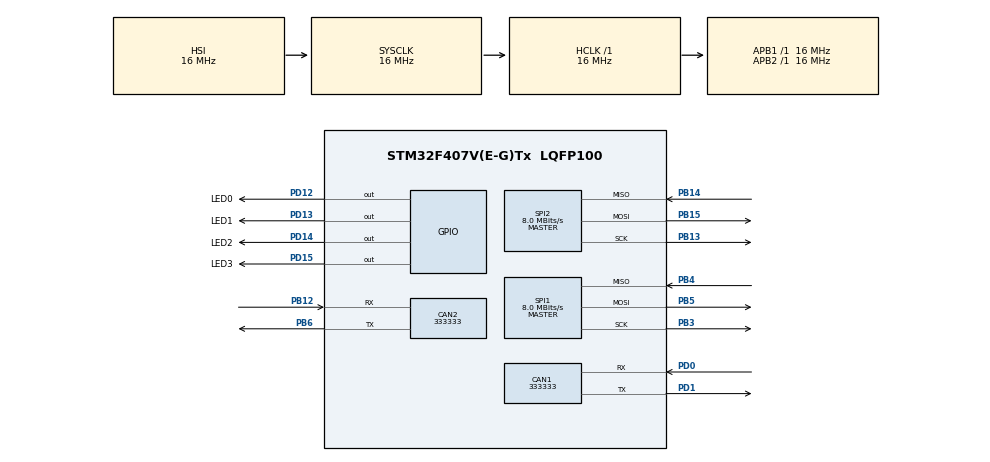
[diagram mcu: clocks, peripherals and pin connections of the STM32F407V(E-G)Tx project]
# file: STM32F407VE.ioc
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CAN1.CalculateBaudRate=333333
CAN1.CalculateTimeBit=3000.00
CAN1.CalculateTimeQuantum=1000.0
CAN2.CalculateBaudRate=333333
CAN2.CalculateTimeBit=3000.00
CAN2.CalculateTimeQuantum=1000.0
Mcu.Family=STM32F4
Mcu.Name=STM32F407V(E-G)Tx
Mcu.Package=LQFP100
NVIC.PriorityGroup=NVIC_PRIORITYGROUP_4
PA13.Mode=Serial_Wire
PA13.Signal=SYS_JTMS-SWDIO
PA14.Mode=Serial_Wire
PA14.Signal=SYS_JTCK-SWCLK
PB12.Mode=CAN_Activate
PB12.Signal=CAN2_RX
PB13.Mode=Full_Duplex_Master
PB13.Signal=SPI2_SCK
PB14.Mode=Full_Duplex_Master
PB14.Signal=SPI2_MISO
PB15.Mode=Full_Duplex_Master
PB15.Signal=SPI2_MOSI
PB3.Mode=Full_Duplex_Master
PB3.Signal=SPI1_SCK
PB4.Mode=Full_Duplex_Master
PB4.Signal=SPI1_MISO
PB5.Mode=Full_Duplex_Master
PB5.Signal=SPI1_MOSI
PB6.Mode=CAN_Activate
PB6.Signal=CAN2_TX
PD0.Mode=CAN_Activate
PD0.Signal=CAN1_RX
PD1.Mode=CAN_Activate
PD1.Signal=CAN1_TX
PD12.GPIO_Label=LED0
PD12.GPIO_ModeDefaultOutputPP=GPIO_MODE_OUTPUT_PP
PD12.GPIO_PuPd=GPIO_PULLUP
PD12.GPIO_Speed=GPIO_SPEED_FREQ_HIGH
PD12.PinState=GPIO_PIN_SET
PD12.Signal=GPIO_Output
PD13.GPIO_Label=LED1
PD13.GPIO_PuPd=GPIO_PULLUP
PD13.GPIO_Speed=GPIO_SPEED_FREQ_HIGH
PD13.PinState=GPIO_PIN_SET
PD13.Signal=GPIO_Output
PD14.GPIO_Label=LED2
PD14.GPIO_PuPd=GPIO_PULLUP
PD14.GPIO_Speed=GPIO_SPEED_FREQ_HIGH
PD14.PinState=GPIO_PIN_SET
PD14.Signal=GPIO_Output
PD15.GPIO_Label=LED3
PD15.GPIO_PuPd=GPIO_PULLUP
PD15.GPIO_Speed=GPIO_SPEED_FREQ_HIGH
PD15.PinState=GPIO_PIN_SET
PD15.Signal=GPIO_Output
PH0-OSC_IN.Mode=HSE-External-Oscillator
PH0-OSC_IN.Signal=RCC_OSC_IN
PH1-OSC_OUT.Mode=HSE-External-Oscillator
PH1-OSC_OUT.Signal=RCC_OSC_OUT
ProjectManager.HeapSize=0x200
ProjectManager.StackSize=0x400
ProjectManager.TargetToolchain=STM32CubeIDE
RCC.AHBFreq_Value=16000000
RCC.APB1Freq_Value=16000000
RCC.APB2Freq_Value=16000000
RCC.CortexFreq_Value=16000000
RCC.HSE_VALUE=25000000
RCC.HSI_VALUE=16000000
RCC.LSE_VALUE=32768
RCC.SYSCLKFreq_VALUE=16000000
RCC.VCOOutputFreq_Value=192000000
SPI1.CalculateBaudRate=8.0 MBits/s
SPI1.Direction=SPI_DIRECTION_2LINES
SPI1.Mode=SPI_MODE_MASTER
SPI1.VirtualType=VM_MASTER
SPI2.CalculateBaudRate=8.0 MBits/s
SPI2.Direction=SPI_DIRECTION_2LINES
SPI2.Mode=SPI_MODE_MASTER
SPI2.VirtualType=VM_MASTER
board=custom

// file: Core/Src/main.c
/* USER CODE BEGIN Header */
/**
  ******************************************************************************
  * @file           : main.c
  * @brief          : Main program body
  ******************************************************************************
  * @attention
  *
  * <h2><center>&copy; Copyright (c) 2021 STMicroelectronics.
  * All rights reserved.</center></h2>
  *
  * This software component is licensed by ST under BSD 3-Clause license,
  * the "License"; You may not use this file except in compliance with the
  * License. You may obtain a copy of the License at:
  *                        opensource.org/licenses/BSD-3-Clause
  *
  ******************************************************************************
  */
/* USER CODE END Header */
#include "main.h"

/* USER CODE BEGIN Includes */
#include "sys.h"
#include "can.h"
#include "24l01.h"
#include "spi.h"
/* USER CODE END Includes */

/* USER CODE BEGIN PTD */
#define WK_UP PAin(0)
#define LED0 PDout(12)
#define LED1 PDout(13)
#define LED2 PDout(14)
#define LED3 PDout(15)
/* USER CODE END PTD */

CAN_HandleTypeDef hcan1;
CAN_HandleTypeDef hcan2;

SPI_HandleTypeDef hspi1;
SPI_HandleTypeDef hspi2;

void SystemClock_Config(void);
static void MX_GPIO_Init(void);
static void MX_CAN1_Init(void);
static void MX_CAN2_Init(void);
static void MX_SPI1_Init(void);
static void MX_SPI2_Init(void);

int main(void)
{
  /* USER CODE BEGIN 1 */
	u8 key_up=1,canbuf[32];
  /* USER CODE END 1 */

  /* MCU Configuration--------------------------------------------------------*/

  /* Reset of all peripherals, Initializes the Flash interface and the Systick. */
  HAL_Init();

  /* Configure the system clock */
  SystemClock_Config();

  /* Initialize all configured peripherals */
  MX_GPIO_Init();
  MX_CAN1_Init();
  MX_CAN2_Init();
  MX_SPI1_Init();
  MX_SPI2_Init();
  /* USER CODE BEGIN 2 */

LED0=0;
LED1=0;
LED2=0;
LED3=0;

NRF24L01_Init(); //Initialize NRF24L01
NRF24L01_2_Init(); //Initialize NRF24L01
while(NRF24L01_Check())
{
LED0=0;
LED1=0;
}
LED0=1;
LED1=1;
while(NRF24L01_2_Check())
{

LED2=0;
LED3=0;
}
LED2=1;
LED3=1;
NRF24L01_RX_Mode();
NRF24L01_2_TX_Mode();
  /* USER CODE END 2 */

  /* Infinite loop */
  /* USER CODE BEGIN WHILE */
CAN1_Mode_Init(CAN_SJW_1TQ,CAN_BS2_6TQ,CAN_BS1_7TQ,6,CAN_MODE_NORMAL);
CAN_Config();
CAN2_Mode_Init(CAN_SJW_1TQ,CAN_BS2_6TQ,CAN_BS1_7TQ,6,CAN_MODE_NORMAL);
CAN2_Config();
  while (1)
  {
if(NRF24L01_RxPacket(canbuf)==0)//After receiving wirelessly, use can2 to send
{
if(canbuf[0]==1)
{
canbuf[0]=1;
CAN2_Send_Msg(canbuf,1);//Send with can2
}

}
if(CAN1_Receive_Msg(canbuf)==1)//After can2 is received, send it wirelessly
{
if(canbuf[0]==1)
{
canbuf[0]=0;
LED0=!LED0;
LED1=!LED1;
LED2=!LED2;
LED3=!LED3;
}
}
if(CAN2_Receive_Msg(canbuf)==1)//After can2 is received, send it wirelessly
{
if(canbuf[0]==1)
{
canbuf[0]=1;
if(NRF24L01_2_TxPacket(canbuf)==TX_OK)
{

}
}
}
if(WK_UP==1&&key_up==1)
{
HAL_Delay(10);
if(WK_UP==1&&key_up==1)//After the button is pressed, use can1 to send
{
key_up=0;

canbuf[0]=1;
CAN1_Send_Msg(canbuf,1);

}
}
else if(WK_UP==0)
{
key_up=1;
}
HAL_Delay(50);
    /* USER CODE END WHILE */

  }
}
void SystemClock_Config(void)
{
  RCC_OscInitTypeDef RCC_OscInitStruct = {0};
  RCC_ClkInitTypeDef RCC_ClkInitStruct = {0};

  /** Configure the main internal regulator output voltage
  */
  __HAL_RCC_PWR_CLK_ENABLE();
  __HAL_PWR_VOLTAGESCALING_CONFIG(PWR_REGULATOR_VOLTAGE_SCALE1);
  /** Initializes the RCC Oscillators according to the specified parameters
  * in the RCC_OscInitTypeDef structure.
  */
  RCC_OscInitStruct.OscillatorType = RCC_OSCILLATORTYPE_HSI;
  RCC_OscInitStruct.HSIState = RCC_HSI_ON;
  RCC_OscInitStruct.HSICalibrationValue = RCC_HSICALIBRATION_DEFAULT;
  RCC_OscInitStruct.PLL.PLLState = RCC_PLL_NONE;
  if (HAL_RCC_OscConfig(&RCC_OscInitStruct) != HAL_OK)
  {
    Error_Handler();
  }
  /** Initializes the CPU, AHB and APB buses clocks
  */
  RCC_ClkInitStruct.ClockType = RCC_CLOCKTYPE_HCLK|RCC_CLOCKTYPE_SYSCLK
                              |RCC_CLOCKTYPE_PCLK1|RCC_CLOCKTYPE_PCLK2;
  RCC_ClkInitStruct.SYSCLKSource = RCC_SYSCLKSOURCE_HSI;
  RCC_ClkInitStruct.AHBCLKDivider = RCC_SYSCLK_DIV1;
  RCC_ClkInitStruct.APB1CLKDivider = RCC_HCLK_DIV1;
  RCC_ClkInitStruct.APB2CLKDivider = RCC_HCLK_DIV1;

  if (HAL_RCC_ClockConfig(&RCC_ClkInitStruct, FLASH_LATENCY_0) != HAL_OK)
  {
    Error_Handler();
  }
}

static void MX_CAN1_Init(void)
{

  hcan1.Instance = CAN1;
  hcan1.Init.Prescaler = 16;
  hcan1.Init.Mode = CAN_MODE_NORMAL;
  hcan1.Init.SyncJumpWidth = CAN_SJW_1TQ;
  hcan1.Init.TimeSeg1 = CAN_BS1_1TQ;
  hcan1.Init.TimeSeg2 = CAN_BS2_1TQ;
  hcan1.Init.TimeTriggeredMode = DISABLE;
  hcan1.Init.AutoBusOff = DISABLE;
  hcan1.Init.AutoWakeUp = DISABLE;
  hcan1.Init.AutoRetransmission = DISABLE;
  hcan1.Init.ReceiveFifoLocked = DISABLE;
  hcan1.Init.TransmitFifoPriority = DISABLE;
  if (HAL_CAN_Init(&hcan1) != HAL_OK)
  {
    Error_Handler();
  }

}

static void MX_CAN2_Init(void)
{

  hcan2.Instance = CAN2;
  hcan2.Init.Prescaler = 16;
  hcan2.Init.Mode = CAN_MODE_NORMAL;
  hcan2.Init.SyncJumpWidth = CAN_SJW_1TQ;
  hcan2.Init.TimeSeg1 = CAN_BS1_1TQ;
  hcan2.Init.TimeSeg2 = CAN_BS2_1TQ;
  hcan2.Init.TimeTriggeredMode = DISABLE;
  hcan2.Init.AutoBusOff = DISABLE;
  hcan2.Init.AutoWakeUp = DISABLE;
  hcan2.Init.AutoRetransmission = DISABLE;
  hcan2.Init.ReceiveFifoLocked = DISABLE;
  hcan2.Init.TransmitFifoPriority = DISABLE;
  if (HAL_CAN_Init(&hcan2) != HAL_OK)
  {
    Error_Handler();
  }

}

static void MX_SPI1_Init(void)
{

  /* SPI1 parameter configuration*/
  hspi1.Instance = SPI1;
  hspi1.Init.Mode = SPI_MODE_MASTER;
  hspi1.Init.Direction = SPI_DIRECTION_2LINES;
  hspi1.Init.DataSize = SPI_DATASIZE_8BIT;
  hspi1.Init.CLKPolarity = SPI_POLARITY_LOW;
  hspi1.Init.CLKPhase = SPI_PHASE_1EDGE;
  hspi1.Init.NSS = SPI_NSS_SOFT;
  hspi1.Init.BaudRatePrescaler = SPI_BAUDRATEPRESCALER_2;
  hspi1.Init.FirstBit = SPI_FIRSTBIT_MSB;
  hspi1.Init.TIMode = SPI_TIMODE_DISABLE;
  hspi1.Init.CRCCalculation = SPI_CRCCALCULATION_DISABLE;
  hspi1.Init.CRCPolynomial = 10;
  if (HAL_SPI_Init(&hspi1) != HAL_OK)
  {
    Error_Handler();
  }

}

static void MX_SPI2_Init(void)
{

  /* SPI2 parameter configuration*/
  hspi2.Instance = SPI2;
  hspi2.Init.Mode = SPI_MODE_MASTER;
  hspi2.Init.Direction = SPI_DIRECTION_2LINES;
  hspi2.Init.DataSize = SPI_DATASIZE_8BIT;
  hspi2.Init.CLKPolarity = SPI_POLARITY_LOW;
  hspi2.Init.CLKPhase = SPI_PHASE_1EDGE;
  hspi2.Init.NSS = SPI_NSS_SOFT;
  hspi2.Init.BaudRatePrescaler = SPI_BAUDRATEPRESCALER_2;
  hspi2.Init.FirstBit = SPI_FIRSTBIT_MSB;
  hspi2.Init.TIMode = SPI_TIMODE_DISABLE;
  hspi2.Init.CRCCalculation = SPI_CRCCALCULATION_DISABLE;
  hspi2.Init.CRCPolynomial = 10;
  if (HAL_SPI_Init(&hspi2) != HAL_OK)
  {
    Error_Handler();
  }

}

static void MX_GPIO_Init(void)
{
  GPIO_InitTypeDef GPIO_InitStruct = {0};

  /* GPIO Ports Clock Enable */
  __HAL_RCC_GPIOH_CLK_ENABLE();
  __HAL_RCC_GPIOB_CLK_ENABLE();
  __HAL_RCC_GPIOD_CLK_ENABLE();
  __HAL_RCC_GPIOA_CLK_ENABLE();

  /*Configure GPIO pin Output Level */
  HAL_GPIO_WritePin(GPIOD, LED0_Pin|LED1_Pin|LED2_Pin|LED3_Pin, GPIO_PIN_SET);

  /*Configure GPIO pins : LED0_Pin LED1_Pin LED2_Pin LED3_Pin */
  GPIO_InitStruct.Pin = LED0_Pin|LED1_Pin|LED2_Pin|LED3_Pin;
  GPIO_InitStruct.Mode = GPIO_MODE_OUTPUT_PP;
  GPIO_InitStruct.Pull = GPIO_PULLUP;
  GPIO_InitStruct.Speed = GPIO_SPEED_FREQ_HIGH;
  HAL_GPIO_Init(GPIOD, &GPIO_InitStruct);

}

void Error_Handler(void)
{
  __disable_irq();
  while (1)
  {
  }
}

/************************ (C) COPYRIGHT STMicroelectronics *****END OF FILE****/
